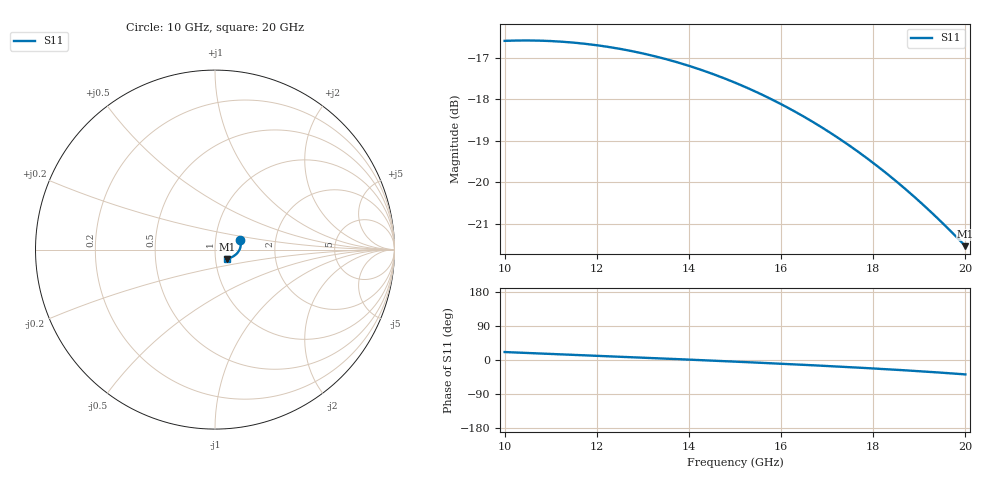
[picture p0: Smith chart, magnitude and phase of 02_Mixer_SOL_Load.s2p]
! Synthetic calibration acquisition fixture: NOT a frequency-converting S2P model.
! RF=10..20 GHz; LO=5 GHz; IF=RF-LO. 201 points, 50 MHz step.
! Only S11 is meaningful. S21=S12=S22=0 are unused matched/isolated placeholders.
! Use ideal Open(+1), Short(-1), Load(0), zero offsets, Z0=50 ohm.
! Order: frequency_Hz S11_Re S11_Im S21_Re S21_Im S12_Re S12_Im S22_Re S22_Im
# Hz S RI R 50
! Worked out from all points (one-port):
!   201 points, 10 GHz to 20 GHz, reference 50 ohm
!   lowest |S11| = -21.5 dB at 20 GHz (marker M1), VSWR 1.18, Z = 56.7 - j5.89 ohm
!   |S11| at or under -10 dB: start of sweep to end of sweep
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1e10  0.1382 0.053  0 0  0 0  0 0
1.085e10  0.1417 0.0428  0 0  0 0  0 0
1.17e10  0.1433 0.0321  0 0  0 0  0 0
1.215e10  0.1434 0.0263  0 0  0 0  0 0
1.255e10  0.143 0.0211  0 0  0 0  0 0
1.335e10  0.141 0.0108  0 0  0 0  0 0
1.38e10  0.1391 0.00501  0 0  0 0  0 0
1.42e10  0.1369 -4.91e-05  0 0  0 0  0 0
1.46e10  0.1344 -0.00501  0 0  0 0  0 0
1.5e10  0.1314 -0.00985  0 0  0 0  0 0
1.545e10  0.1276 -0.0151  0 0  0 0  0 0
1.585e10  0.1238 -0.0196  0 0  0 0  0 0
1.63e10  0.1191 -0.0245  0 0  0 0  0 0
1.67e10  0.1146 -0.0285  0 0  0 0  0 0
1.715e10  0.109 -0.0328  0 0  0 0  0 0
1.755e10  0.1038 -0.0364  0 0  0 0  0 0
1.795e10  0.0983 -0.0397  0 0  0 0  0 0
1.835e10  0.0924 -0.0426  0 0  0 0  0 0
1.88e10  0.0856 -0.0456  0 0  0 0  0 0
1.92e10  0.0792 -0.0479  0 0  0 0  0 0
1.96e10  0.0727 -0.0499  0 0  0 0  0 0
2e10  0.066 -0.0515  0 0  0 0  0 0
